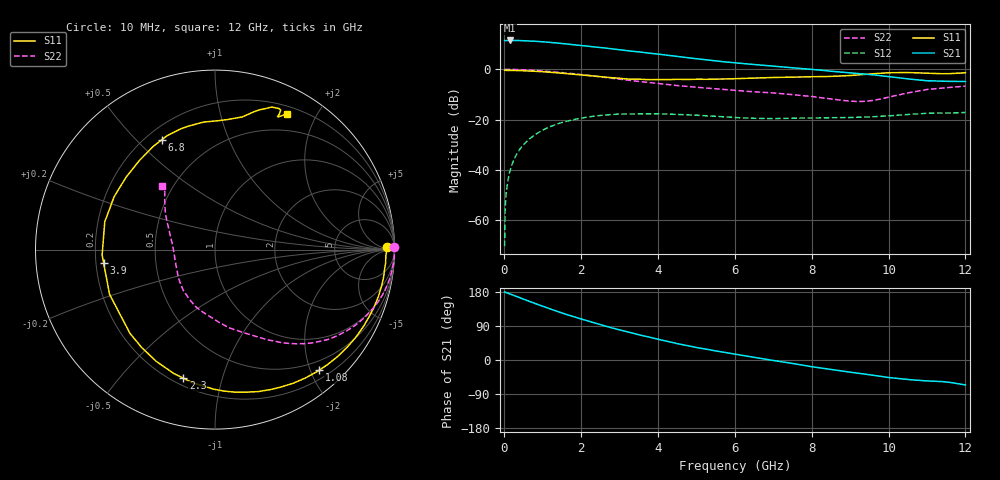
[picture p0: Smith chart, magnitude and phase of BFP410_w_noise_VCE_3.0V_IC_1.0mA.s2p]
! Infineon Technologies  Discrete & RF Semiconductors
! BFP410
! VCE =  3.0 V,  IC =  1.0 mA
! Common Emitter S-Parameters:  Nov 2015
# GHz  S  MA  R  50
!  f  S11  S21  S12  S22
! GHz  MAG  ANG  MAG  ANG  MAG  ANG  MAG  ANG
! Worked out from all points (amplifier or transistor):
!   243 points, 10 MHz to 12 GHz, reference 50 ohm
!   highest |S21| = 11.5 dB at 150 MHz (marker M1)
!   |S21| within 3 dB of that: start of sweep to 2.617 GHz
!   unconditionally stable (mu >= 1): 4.63 GHz to end of sweep
!   at 240 MHz: K = 0.03, MSG = 24.0 dB, |S12| = -36.4 dB
!   at 1.84 GHz: K = 0.28, MSG = 14.8 dB, |S12| = -19.9 dB
!   at 12 GHz: K = 1.26, MAG = 3.1 dB, |S12| = -17.2 dB
!   lowest NFmin = 0.79 dB at 900 MHz
!   S11 on the Smith chart (normalised r, x): 10 MHz: 45, +16; 1.08 GHz: 0.34, -2.14; 2.3 GHz: 0.24, -0.75; 3.9 GHz: 0.23, -0.06; 6.8 GHz: 0.26, +0.59; 12 GHz: 0.29, +1.62
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0.01  0.961 0.8  3.759 179.6  0.0003 35.6  1 0.9
0.015  0.9591 0.3  3.75 179.6  0.0008 74.1  0.9966 0.7
0.02  0.9573 -0.3  3.741 179.5  0.0013 82.4  0.9933 0.4
0.045  0.9531 -1.8  3.735 178.1  0.003 86.6  0.9986 -0.5
0.15  0.9508 -6.7  3.764 174.3  0.0095 86.2  0.9988 -3.3
0.3  0.9488 -13.4  3.759 168.5  0.0189 82.6  0.9929 -6.7
0.48  0.9396 -21.6  3.733 161.5  0.0302 77.9  0.9825 -10.8
0.74  0.9203 -33.6  3.655 151.5  0.0461 71.0  0.9599 -16.5
1.08  0.8875 -49.3  3.506 139.0  0.0659 62.0  0.9199 -23.6
1.6  0.8268 -73.1  3.224 120.8  0.0915 48.3  0.8465 -33.5
2.02  0.7742 -91.5  2.981 107.7  0.1075 38.4  0.7857 -40.3
2.3  0.7375 -103.9  2.83 99.3  0.1158 31.9  0.7424 -44.6
3  0.6651 -135.4  2.466 79.5  0.1284 17.0  0.6376 -54.4
3.9  0.6251 -173.2  2.052 57.2  0.1301 2.5  0.5322 -65.1
4.1  0.626 179.4  1.972 52.5  0.1295 -0.2  0.5121 -67.7
5  0.6348 152.3  1.627 33.0  0.1221 -10.4  0.4406 -80.2
6.1  0.6535 128.4  1.328 13.8  0.1089 -15.9  0.375 -94.0
6.8  0.6797 115.9  1.194 2.2  0.1051 -16.1  0.3454 -104.6
8.2  0.715 91.5  0.968 -20.6  0.1081 -16.9  0.2747 -133.0
9.2  0.775 76.3  0.826 -34.7  0.111 -17.2  0.2287 -169.1
10.2  0.8588 66.9  0.688 -48.2  0.1214 -17.6  0.3011 151.4
12  0.8555 62.2  0.574 -65.8  0.1383 -27.5  0.4628 129.8
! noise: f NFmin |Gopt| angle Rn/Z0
0.45  0.82  0.68  9  0.45
0.9  0.79  0.65  23  0.41
1.8  1.13  0.53  57  0.35
2.4  1.23  0.5  71  0.31
5.5  2.66  0.44  -153  0.19
